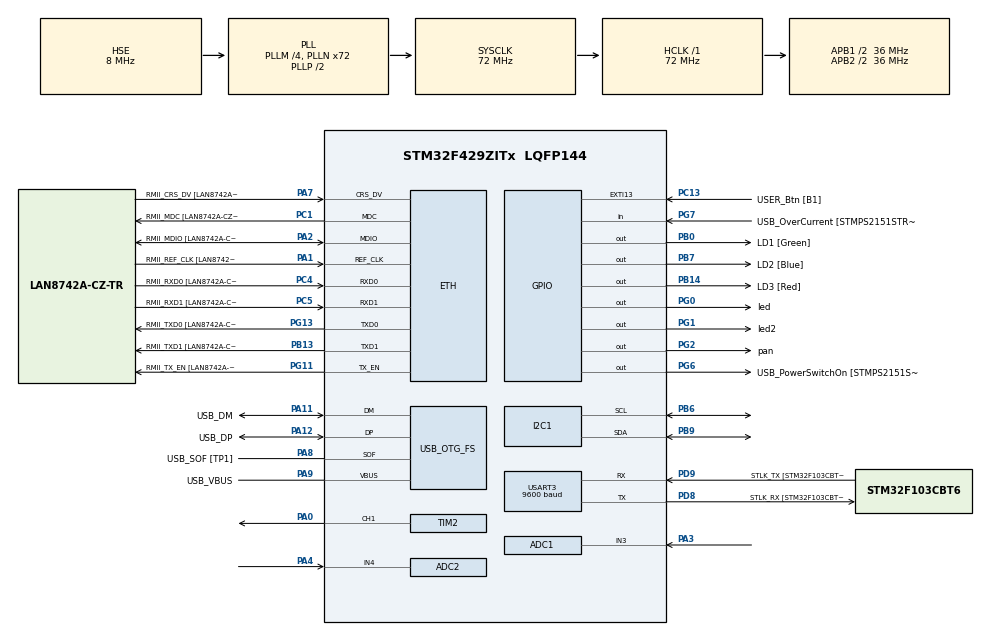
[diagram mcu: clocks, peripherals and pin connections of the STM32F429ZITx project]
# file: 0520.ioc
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ADC1.Channel-0\#ChannelRegularConversion=ADC_CHANNEL_3
ADC1.ClockPrescaler=ADC_CLOCK_SYNC_PCLK_DIV4
ADC1.ContinuousConvMode=ENABLE
ADC1.NbrOfConversionFlag=1
ADC1.Rank-0\#ChannelRegularConversion=1
ADC1.SamplingTime-0\#ChannelRegularConversion=ADC_SAMPLETIME_3CYCLES
ADC1.master=1
ADC2.Channel-0\#ChannelRegularConversion=ADC_CHANNEL_4
ADC2.ClockPrescaler=ADC_CLOCK_SYNC_PCLK_DIV4
ADC2.NbrOfConversionFlag=1
ADC2.Rank-0\#ChannelRegularConversion=1
ADC2.SamplingTime-0\#ChannelRegularConversion=ADC_SAMPLETIME_3CYCLES
ETH.MediaInterface=HAL_ETH_RMII_MODE
ETH.PHY_Name=LAN8742A_PHY_ADDRESS
ETH.PHY_Value=0
ETH.PhyAddress=0
Mcu.Family=STM32F4
Mcu.Name=STM32F429ZITx
Mcu.Package=LQFP144
NVIC.ADC_IRQn=true\:0\:0\:false\:false\:true\:true\:true\:true
NVIC.PriorityGroup=NVIC_PRIORITYGROUP_4
NVIC.USART3_IRQn=true\:0\:0\:false\:false\:true\:true\:true\:true
PA0/WKUP.Signal=S_TIM2_CH1_ETR
PA1.GPIO_Label=RMII_REF_CLK [LAN8742A-CZ-TR_REFCLK0]
PA1.Mode=RMII
PA1.Signal=ETH_REF_CLK
PA10.GPIO_Label=USB_ID
PA10.Signal=USB_OTG_FS_ID
PA11.GPIO_Label=USB_DM
PA11.Mode=Device_Only
PA11.Signal=USB_OTG_FS_DM
PA12.GPIO_Label=USB_DP
PA12.Mode=Device_Only
PA12.Signal=USB_OTG_FS_DP
PA13.GPIO_Label=TMS
PA13.Mode=Serial_Wire
PA13.Signal=SYS_JTMS-SWDIO
PA14.GPIO_Label=TCK
PA14.Mode=Serial_Wire
PA14.Signal=SYS_JTCK-SWCLK
PA2.GPIO_Label=RMII_MDIO [LAN8742A-CZ-TR_MDIO]
PA2.Mode=RMII
PA2.Signal=ETH_MDIO
PA3.Signal=ADCx_IN3
PA4.Signal=ADCx_IN4
PA7.GPIO_Label=RMII_CRS_DV [LAN8742A-CZ-TR_CRS_DV]
PA7.Mode=RMII
PA7.Signal=ETH_CRS_DV
PA8.GPIO_Label=USB_SOF [TP1]
PA8.Mode=Activate_SOF_FS
PA8.Signal=USB_OTG_FS_SOF
PA9.GPIO_Label=USB_VBUS
PA9.Mode=Activate_VBUS
PA9.Signal=USB_OTG_FS_VBUS
PB0.GPIO_Label=LD1 [Green]
PB0.Signal=GPIO_Output
PB13.GPIO_Label=RMII_TXD1 [LAN8742A-CZ-TR_TXD1]
PB13.Mode=RMII
PB13.Signal=ETH_TXD1
PB14.GPIO_Label=LD3 [Red]
PB14.Signal=GPIO_Output
PB6.Mode=I2C
PB6.Signal=I2C1_SCL
PB7.GPIO_Label=LD2 [Blue]
PB7.Signal=GPIO_Output
PB9.Mode=I2C
PB9.Signal=I2C1_SDA
PC1.GPIO_Label=RMII_MDC [LAN8742A-CZ-TR_MDC]
PC1.Mode=RMII
PC1.Signal=ETH_MDC
PC13.GPIO_Label=USER_Btn [B1]
PC13.Signal=GPXTI13
PC14/OSC32_IN.Mode=LSE-External-Oscillator
PC14/OSC32_IN.Signal=RCC_OSC32_IN
PC15/OSC32_OUT.Mode=LSE-External-Oscillator
PC15/OSC32_OUT.Signal=RCC_OSC32_OUT
PC4.GPIO_Label=RMII_RXD0 [LAN8742A-CZ-TR_RXD0]
PC4.Mode=RMII
PC4.Signal=ETH_RXD0
PC5.GPIO_Label=RMII_RXD1 [LAN8742A-CZ-TR_RXD1]
PC5.Mode=RMII
PC5.Signal=ETH_RXD1
PD8.GPIO_Label=STLK_RX [STM32F103CBT6_PA3]
PD8.Mode=Asynchronous
PD8.Signal=USART3_TX
PD9.GPIO_Label=STLK_TX [STM32F103CBT6_PA2]
PD9.Mode=Asynchronous
PD9.Signal=USART3_RX
PG0.GPIO_Label=led
PG0.Signal=GPIO_Output
PG1.GPIO_Label=led2
PG1.Signal=GPIO_Output
PG11.GPIO_Label=RMII_TX_EN [LAN8742A-CZ-TR_TXEN]
PG11.Mode=RMII
PG11.Signal=ETH_TX_EN
PG13.GPIO_Label=RMII_TXD0 [LAN8742A-CZ-TR_TXD0]
PG13.Mode=RMII
PG13.Signal=ETH_TXD0
PG2.GPIO_Label=pan
PG2.Signal=GPIO_Output
PG6.GPIO_Label=USB_PowerSwitchOn [STMPS2151STR_EN]
PG6.Signal=GPIO_Output
PG7.GPIO_Label=USB_OverCurrent [STMPS2151STR_FAULT]
PG7.Signal=GPIO_Input
PH0/OSC_IN.GPIO_Label=MCO [STM32F103CBT6_PA8]
PH0/OSC_IN.Mode=HSE-External-Clock-Source
PH0/OSC_IN.Signal=RCC_OSC_IN
PH1/OSC_OUT.Mode=HSE-External-Clock-Source
PH1/OSC_OUT.Signal=RCC_OSC_OUT
ProjectManager.HeapSize=0x200
ProjectManager.StackSize=0x400
ProjectManager.TargetToolchain=STM32CubeIDE
RCC.48MHZClocksFreq_Value=48000000
RCC.AHBFreq_Value=72000000
RCC.APB1CLKDivider=RCC_HCLK_DIV2
RCC.APB1Freq_Value=36000000
RCC.APB1TimFreq_Value=72000000
RCC.APB2CLKDivider=RCC_HCLK_DIV2
RCC.APB2Freq_Value=36000000
RCC.APB2TimFreq_Value=72000000
RCC.CortexFreq_Value=72000000
RCC.HCLKFreq_Value=72000000
RCC.HSE_VALUE=8000000
RCC.HSI_VALUE=16000000
RCC.PLLM=4
RCC.PLLMUL=RCC_PLL_MUL9
RCC.PLLN=72
RCC.PLLQ=3
RCC.PRESCALERUSB=RCC_USBCLKSOURCE_PLL_DIV1_5
RCC.SYSCLKFreq_VALUE=72000000
RCC.SYSCLKSource=RCC_SYSCLKSOURCE_PLLCLK
RCC.SYSCLKSourceVirtual=RCC_SYSCLKSOURCE_PLLCLK
RCC.USBFreq_Value=48000000
RCC.VCOOutputFreq_Value=144000000
SH.ADCx_IN3.0=ADC1_IN3,IN3
SH.ADCx_IN4.0=ADC2_IN4,IN4
SH.S_TIM2_CH1_ETR.0=TIM2_CH1,PWM Generation1 CH1
TIM2.Channel-PWM\ Generation1\ CH1=TIM_CHANNEL_1
TIM2.Period=2000-1
TIM2.Prescaler=640-1
TIM2.Pulse-PWM\ Generation1\ CH1=300-1
USART3.BaudRate=9600
USART3.VirtualMode=VM_ASYNC
USB_OTG_FS.VirtualMode=Device_Only
VP_TIM2_VS_ClockSourceINT.Mode=Internal
board=NUCLEO-F429ZI

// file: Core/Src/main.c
/* USER CODE BEGIN Header */
/**
 ******************************************************************************
 * @file           : main.c
 * @brief          : Main program body
 ******************************************************************************
 * @attention
 *
 * Copyright (c) 2022 STMicroelectronics.
 * All rights reserved.
 *
 * This software is licensed under terms that can be found in the LICENSE file
 * in the root directory of this software component.
 * If no LICENSE file comes with this software, it is provided AS-IS.
 *
 ******************************************************************************
 */
/* USER CODE END Header */
#include "main.h"
#include "string.h"

/* USER CODE BEGIN Includes */
#include <stdio.h>
#include "i2c-lcd.h"

/* USER CODE END Includes */

/* USER CODE BEGIN PTD */
#define PARA 116.6020682
#define PARB 2.769034857

#define RLOAD 0.95 //RLOAD 측정�??
#define RZERO 3.49
/* USER CODE END PTD */

/* USER CODE BEGIN PD */
#define RxBufferSize 20
/* USER CODE END PD */

ETH_TxPacketConfig TxConfig;
ETH_DMADescTypeDef DMARxDscrTab[ETH_RX_DESC_CNT]; /* Ethernet Rx DMA Descriptors */
ETH_DMADescTypeDef DMATxDscrTab[ETH_TX_DESC_CNT]; /* Ethernet Tx DMA Descriptors */

ADC_HandleTypeDef hadc1;
ADC_HandleTypeDef hadc2;

ETH_HandleTypeDef heth;

I2C_HandleTypeDef hi2c1;

TIM_HandleTypeDef htim2;

UART_HandleTypeDef huart3;

PCD_HandleTypeDef hpcd_USB_OTG_FS;

/* USER CODE BEGIN PV */
uint8_t RxBuffer[RxBufferSize];
uint16_t adc_value1, adc_value2;

float ppm;
int gas;

int val, flag;
int sensor_read = 0;
float getResistance;

char msg[15];

/* USER CODE END PV */

void SystemClock_Config(void);
static void MX_GPIO_Init(void);
static void MX_ETH_Init(void);
static void MX_USART3_UART_Init(void);
static void MX_USB_OTG_FS_PCD_Init(void);
static void MX_ADC1_Init(void);
static void MX_TIM2_Init(void);
static void MX_ADC2_Init(void);
static void MX_I2C1_Init(void);

/* USER CODE BEGIN 0 */

#ifdef __GNUC__										//printf ?��?��
/* With GCC, small printf (option LD Linker->Libraries->Small printf
 set to 'Yes') calls __io_putchar() */
#define PUTCHAR_PROTOTYPE int __io_putchar(int ch)
#else
#define PUTCHAR_PROTOTYPE int fputc(int ch, FILE *f)
#endif /* __GNUC__ */

PUTCHAR_PROTOTYPE {
	/* Place your implementation of fputc here */
	/* e.g. write a character to the USART1 and Loop until the end of transmission */
	HAL_UART_Transmit(&huart3, (uint8_t*) &ch, 1, 0xFFFF);

	return ch;
}

int map(int x, int in_min, int in_max, int out_min, int out_max) {
	return (x - in_min) * (out_max - out_min) / (in_max - in_min) + out_min;
}

void LCD() {
	//lcd ?��?��
	char co2_text[20], gas_text[20];
	lcd_put_cur(0, 0);
	sprintf(co2_text, "CO2 : %.2fppm ", ppm);
	lcd_send_string(co2_text);
	lcd_put_cur(1, 0);
	sprintf(gas_text, "Gas : %dppm", gas);
	lcd_send_string(gas_text);
}

/* USER CODE END 0 */

int main(void) {

	/* MCU Configuration--------------------------------------------------------*/

	/* Reset of all peripherals, Initializes the Flash interface and the Systick. */
	HAL_Init();

	/* Configure the system clock */
	SystemClock_Config();

	/* Initialize all configured peripherals */
	MX_GPIO_Init();
	MX_ETH_Init();
	MX_USART3_UART_Init();
	MX_USB_OTG_FS_PCD_Init();
	MX_ADC1_Init();
	MX_TIM2_Init();
	MX_ADC2_Init();
	MX_I2C1_Init();
	/* USER CODE BEGIN 2 */
	HAL_TIM_PWM_Start(&htim2, TIM_CHANNEL_1);
	HAL_ADC_Start_IT(&hadc1);
	HAL_ADC_Start_IT(&hadc2);

	lcd_init();

	/* USER CODE END 2 */

	/* Infinite loop */
	/* USER CODE BEGIN WHILE */
	while (1) {
		uint8_t RxTemp;
		int count = 0;

		LCD();
		//ADC
		HAL_ADC_Start(&hadc1);
		HAL_ADC_PollForConversion(&hadc1, 10);
		adc_value1 = (uint16_t) HAL_ADC_GetValue(&hadc1);
		HAL_ADC_Start(&hadc2);
		HAL_ADC_PollForConversion(&hadc2, 10);
		adc_value2 = (uint16_t) HAL_ADC_GetValue(&hadc2);

		getResistance = ((4096.0 / (float) adc_value1) - 1.0) * RLOAD;
		ppm = PARA * pow((getResistance / RZERO), -PARB);

		gas = map(adc_value2, 0, 4096, 0, 1000);

		if (ppm < 1400.0 && gas < 1000) {
			if (ppm > 700) {
				flag = 1;
				HAL_GPIO_WritePin(GPIOG, led_Pin, 1);
				TIM2->CCR1 = 150;
				//HAL_Delay(500);
			} else {
				flag = 0;
				HAL_GPIO_WritePin(GPIOG, led_Pin, 0);
				TIM2->CCR1 = 50;
				// HAL_Delay(500);
			}
			if (gas > 300) {
				flag = 1;
				HAL_GPIO_WritePin(GPIOG, led2_Pin, 1);
			} else {
				flag = 0;
				HAL_GPIO_WritePin(GPIOG, led2_Pin, 0);
			}
			sprintf(msg, "%.2lf:%dL", ppm, gas);
			printf(msg);
		}

		while (1) {
			if (HAL_UART_Receive(&huart3, &RxTemp, 1, 50) == HAL_OK) {
				RxBuffer[count++] = RxTemp;
				HAL_Delay(1);
				if (RxTemp == 'P')
					break;
			}
		}

		RxBuffer[count - 1] = '\0';
		count = 0;
		if (strcmp(RxBuffer, "ON") == 0) {
			HAL_GPIO_WritePin(GPIOG, pan_Pin, 1);
			for(int idx = 0; idx < RxBufferSize; idx++)
				RxBuffer[idx] = 0;
		}
		if (strcmp(RxBuffer, "OFF") == 0) {
			HAL_GPIO_WritePin(GPIOG, pan_Pin, 0);
			for(int idx = 0; idx < RxBufferSize; idx++)
				RxBuffer[idx] = 0;
		}

		HAL_Delay(1000);
		/* USER CODE END WHILE */

	}
}

void SystemClock_Config(void) {
	RCC_OscInitTypeDef RCC_OscInitStruct = { 0 };
	RCC_ClkInitTypeDef RCC_ClkInitStruct = { 0 };

	/** Configure the main internal regulator output voltage
	 */
	__HAL_RCC_PWR_CLK_ENABLE();
	__HAL_PWR_VOLTAGESCALING_CONFIG(PWR_REGULATOR_VOLTAGE_SCALE3);

	/** Initializes the RCC Oscillators according to the specified parameters
	 * in the RCC_OscInitTypeDef structure.
	 */
	RCC_OscInitStruct.OscillatorType = RCC_OSCILLATORTYPE_HSE;
	RCC_OscInitStruct.HSEState = RCC_HSE_BYPASS;
	RCC_OscInitStruct.PLL.PLLState = RCC_PLL_ON;
	RCC_OscInitStruct.PLL.PLLSource = RCC_PLLSOURCE_HSE;
	RCC_OscInitStruct.PLL.PLLM = 4;
	RCC_OscInitStruct.PLL.PLLN = 72;
	RCC_OscInitStruct.PLL.PLLP = RCC_PLLP_DIV2;
	RCC_OscInitStruct.PLL.PLLQ = 3;
	if (HAL_RCC_OscConfig(&RCC_OscInitStruct) != HAL_OK) {
		Error_Handler();
	}

	/** Initializes the CPU, AHB and APB buses clocks
	 */
	RCC_ClkInitStruct.ClockType = RCC_CLOCKTYPE_HCLK | RCC_CLOCKTYPE_SYSCLK
			| RCC_CLOCKTYPE_PCLK1 | RCC_CLOCKTYPE_PCLK2;
	RCC_ClkInitStruct.SYSCLKSource = RCC_SYSCLKSOURCE_PLLCLK;
	RCC_ClkInitStruct.AHBCLKDivider = RCC_SYSCLK_DIV1;
	RCC_ClkInitStruct.APB1CLKDivider = RCC_HCLK_DIV2;
	RCC_ClkInitStruct.APB2CLKDivider = RCC_HCLK_DIV2;

	if (HAL_RCC_ClockConfig(&RCC_ClkInitStruct, FLASH_LATENCY_2) != HAL_OK) {
		Error_Handler();
	}
}

static void MX_ADC1_Init(void) {

	ADC_ChannelConfTypeDef sConfig = { 0 };

	/** Configure the global features of the ADC (Clock, Resolution, Data Alignment and number of conversion)
	 */
	hadc1.Instance = ADC1;
	hadc1.Init.ClockPrescaler = ADC_CLOCK_SYNC_PCLK_DIV4;
	hadc1.Init.Resolution = ADC_RESOLUTION_12B;
	hadc1.Init.ScanConvMode = DISABLE;
	hadc1.Init.ContinuousConvMode = ENABLE;
	hadc1.Init.DiscontinuousConvMode = DISABLE;
	hadc1.Init.ExternalTrigConvEdge = ADC_EXTERNALTRIGCONVEDGE_NONE;
	hadc1.Init.ExternalTrigConv = ADC_SOFTWARE_START;
	hadc1.Init.DataAlign = ADC_DATAALIGN_RIGHT;
	hadc1.Init.NbrOfConversion = 1;
	hadc1.Init.DMAContinuousRequests = DISABLE;
	hadc1.Init.EOCSelection = ADC_EOC_SINGLE_CONV;
	if (HAL_ADC_Init(&hadc1) != HAL_OK) {
		Error_Handler();
	}

	/** Configure for the selected ADC regular channel its corresponding rank in the sequencer and its sample time.
	 */
	sConfig.Channel = ADC_CHANNEL_3;
	sConfig.Rank = 1;
	sConfig.SamplingTime = ADC_SAMPLETIME_3CYCLES;
	if (HAL_ADC_ConfigChannel(&hadc1, &sConfig) != HAL_OK) {
		Error_Handler();
	}

}

static void MX_ADC2_Init(void) {

	ADC_ChannelConfTypeDef sConfig = { 0 };

	/** Configure the global features of the ADC (Clock, Resolution, Data Alignment and number of conversion)
	 */
	hadc2.Instance = ADC2;
	hadc2.Init.ClockPrescaler = ADC_CLOCK_SYNC_PCLK_DIV4;
	hadc2.Init.Resolution = ADC_RESOLUTION_12B;
	hadc2.Init.ScanConvMode = DISABLE;
	hadc2.Init.ContinuousConvMode = DISABLE;
	hadc2.Init.DiscontinuousConvMode = DISABLE;
	hadc2.Init.ExternalTrigConvEdge = ADC_EXTERNALTRIGCONVEDGE_NONE;
	hadc2.Init.ExternalTrigConv = ADC_SOFTWARE_START;
	hadc2.Init.DataAlign = ADC_DATAALIGN_RIGHT;
	hadc2.Init.NbrOfConversion = 1;
	hadc2.Init.DMAContinuousRequests = DISABLE;
	hadc2.Init.EOCSelection = ADC_EOC_SINGLE_CONV;
	if (HAL_ADC_Init(&hadc2) != HAL_OK) {
		Error_Handler();
	}

	/** Configure for the selected ADC regular channel its corresponding rank in the sequencer and its sample time.
	 */
	sConfig.Channel = ADC_CHANNEL_4;
	sConfig.Rank = 1;
	sConfig.SamplingTime = ADC_SAMPLETIME_3CYCLES;
	if (HAL_ADC_ConfigChannel(&hadc2, &sConfig) != HAL_OK) {
		Error_Handler();
	}

}

static void MX_ETH_Init(void) {

	static uint8_t MACAddr[6];

	heth.Instance = ETH;
	MACAddr[0] = 0x00;
	MACAddr[1] = 0x80;
	MACAddr[2] = 0xE1;
	MACAddr[3] = 0x00;
	MACAddr[4] = 0x00;
	MACAddr[5] = 0x00;
	heth.Init.MACAddr = &MACAddr[0];
	heth.Init.MediaInterface = HAL_ETH_RMII_MODE;
	heth.Init.TxDesc = DMATxDscrTab;
	heth.Init.RxDesc = DMARxDscrTab;
	heth.Init.RxBuffLen = 1524;

	if (HAL_ETH_Init(&heth) != HAL_OK) {
		Error_Handler();
	}

	memset(&TxConfig, 0, sizeof(ETH_TxPacketConfig));
	TxConfig.Attributes = ETH_TX_PACKETS_FEATURES_CSUM
			| ETH_TX_PACKETS_FEATURES_CRCPAD;
	TxConfig.ChecksumCtrl = ETH_CHECKSUM_IPHDR_PAYLOAD_INSERT_PHDR_CALC;
	TxConfig.CRCPadCtrl = ETH_CRC_PAD_INSERT;

}

static void MX_I2C1_Init(void) {

	hi2c1.Instance = I2C1;
	hi2c1.Init.ClockSpeed = 100000;
	hi2c1.Init.DutyCycle = I2C_DUTYCYCLE_2;
	hi2c1.Init.OwnAddress1 = 0;
	hi2c1.Init.AddressingMode = I2C_ADDRESSINGMODE_7BIT;
	hi2c1.Init.DualAddressMode = I2C_DUALADDRESS_DISABLE;
	hi2c1.Init.OwnAddress2 = 0;
	hi2c1.Init.GeneralCallMode = I2C_GENERALCALL_DISABLE;
	hi2c1.Init.NoStretchMode = I2C_NOSTRETCH_DISABLE;
	if (HAL_I2C_Init(&hi2c1) != HAL_OK) {
		Error_Handler();
	}

	/** Configure Analogue filter
	 */
	if (HAL_I2CEx_ConfigAnalogFilter(&hi2c1, I2C_ANALOGFILTER_ENABLE)
			!= HAL_OK) {
		Error_Handler();
	}

	/** Configure Digital filter
	 */
	if (HAL_I2CEx_ConfigDigitalFilter(&hi2c1, 0) != HAL_OK) {
		Error_Handler();
	}

}

static void MX_TIM2_Init(void) {

	TIM_ClockConfigTypeDef sClockSourceConfig = { 0 };
	TIM_MasterConfigTypeDef sMasterConfig = { 0 };
	TIM_OC_InitTypeDef sConfigOC = { 0 };

	htim2.Instance = TIM2;
	htim2.Init.Prescaler = 640 - 1;
	htim2.Init.CounterMode = TIM_COUNTERMODE_UP;
	htim2.Init.Period = 2000 - 1;
	htim2.Init.ClockDivision = TIM_CLOCKDIVISION_DIV1;
	htim2.Init.AutoReloadPreload = TIM_AUTORELOAD_PRELOAD_DISABLE;
	if (HAL_TIM_Base_Init(&htim2) != HAL_OK) {
		Error_Handler();
	}
	sClockSourceConfig.ClockSource = TIM_CLOCKSOURCE_INTERNAL;
	if (HAL_TIM_ConfigClockSource(&htim2, &sClockSourceConfig) != HAL_OK) {
		Error_Handler();
	}
	if (HAL_TIM_PWM_Init(&htim2) != HAL_OK) {
		Error_Handler();
	}
	sMasterConfig.MasterOutputTrigger = TIM_TRGO_RESET;
	sMasterConfig.MasterSlaveMode = TIM_MASTERSLAVEMODE_DISABLE;
	if (HAL_TIMEx_MasterConfigSynchronization(&htim2, &sMasterConfig)
			!= HAL_OK) {
		Error_Handler();
	}
	sConfigOC.OCMode = TIM_OCMODE_PWM1;
	sConfigOC.Pulse = 300 - 1;
	sConfigOC.OCPolarity = TIM_OCPOLARITY_HIGH;
	sConfigOC.OCFastMode = TIM_OCFAST_DISABLE;
	if (HAL_TIM_PWM_ConfigChannel(&htim2, &sConfigOC, TIM_CHANNEL_1)
			!= HAL_OK) {
		Error_Handler();
	}
	HAL_TIM_MspPostInit(&htim2);

}

static void MX_USART3_UART_Init(void) {

	huart3.Instance = USART3;
	huart3.Init.BaudRate = 9600;
	huart3.Init.WordLength = UART_WORDLENGTH_8B;
	huart3.Init.StopBits = UART_STOPBITS_1;
	huart3.Init.Parity = UART_PARITY_NONE;
	huart3.Init.Mode = UART_MODE_TX_RX;
	huart3.Init.HwFlowCtl = UART_HWCONTROL_NONE;
	huart3.Init.OverSampling = UART_OVERSAMPLING_16;
	if (HAL_UART_Init(&huart3) != HAL_OK) {
		Error_Handler();
	}

}

static void MX_USB_OTG_FS_PCD_Init(void) {

	hpcd_USB_OTG_FS.Instance = USB_OTG_FS;
	hpcd_USB_OTG_FS.Init.dev_endpoints = 4;
	hpcd_USB_OTG_FS.Init.speed = PCD_SPEED_FULL;
	hpcd_USB_OTG_FS.Init.dma_enable = DISABLE;
	hpcd_USB_OTG_FS.Init.phy_itface = PCD_PHY_EMBEDDED;
	hpcd_USB_OTG_FS.Init.Sof_enable = ENABLE;
	hpcd_USB_OTG_FS.Init.low_power_enable = DISABLE;
	hpcd_USB_OTG_FS.Init.lpm_enable = DISABLE;
	hpcd_USB_OTG_FS.Init.vbus_sensing_enable = ENABLE;
	hpcd_USB_OTG_FS.Init.use_dedicated_ep1 = DISABLE;
	if (HAL_PCD_Init(&hpcd_USB_OTG_FS) != HAL_OK) {
		Error_Handler();
	}

}

static void MX_GPIO_Init(void) {
	GPIO_InitTypeDef GPIO_InitStruct = { 0 };

	/* GPIO Ports Clock Enable */
	__HAL_RCC_GPIOC_CLK_ENABLE();
	__HAL_RCC_GPIOH_CLK_ENABLE();
	__HAL_RCC_GPIOA_CLK_ENABLE();
	__HAL_RCC_GPIOB_CLK_ENABLE();
	__HAL_RCC_GPIOG_CLK_ENABLE();
	__HAL_RCC_GPIOD_CLK_ENABLE();

	/*Configure GPIO pin Output Level */
	HAL_GPIO_WritePin(GPIOB, LD1_Pin | LD3_Pin | LD2_Pin, GPIO_PIN_RESET);

	/*Configure GPIO pin Output Level */
	HAL_GPIO_WritePin(GPIOG,
	led_Pin | led2_Pin | pan_Pin | USB_PowerSwitchOn_Pin, GPIO_PIN_RESET);

	/*Configure GPIO pin : USER_Btn_Pin */
	GPIO_InitStruct.Pin = USER_Btn_Pin;
	GPIO_InitStruct.Mode = GPIO_MODE_IT_RISING;
	GPIO_InitStruct.Pull = GPIO_NOPULL;
	HAL_GPIO_Init(USER_Btn_GPIO_Port, &GPIO_InitStruct);

	/*Configure GPIO pins : LD1_Pin LD3_Pin LD2_Pin */
	GPIO_InitStruct.Pin = LD1_Pin | LD3_Pin | LD2_Pin;
	GPIO_InitStruct.Mode = GPIO_MODE_OUTPUT_PP;
	GPIO_InitStruct.Pull = GPIO_NOPULL;
	GPIO_InitStruct.Speed = GPIO_SPEED_FREQ_LOW;
	HAL_GPIO_Init(GPIOB, &GPIO_InitStruct);

	/*Configure GPIO pins : led_Pin led2_Pin pan_Pin USB_PowerSwitchOn_Pin */
	GPIO_InitStruct.Pin = led_Pin | led2_Pin | pan_Pin | USB_PowerSwitchOn_Pin;
	GPIO_InitStruct.Mode = GPIO_MODE_OUTPUT_PP;
	GPIO_InitStruct.Pull = GPIO_NOPULL;
	GPIO_InitStruct.Speed = GPIO_SPEED_FREQ_LOW;
	HAL_GPIO_Init(GPIOG, &GPIO_InitStruct);

	/*Configure GPIO pin : USB_OverCurrent_Pin */
	GPIO_InitStruct.Pin = USB_OverCurrent_Pin;
	GPIO_InitStruct.Mode = GPIO_MODE_INPUT;
	GPIO_InitStruct.Pull = GPIO_NOPULL;
	HAL_GPIO_Init(USB_OverCurrent_GPIO_Port, &GPIO_InitStruct);

}

/* USER CODE BEGIN 4 */
void HAL_ADC_ConvCpltCallback(ADC_HandleTypeDef *hadc);

/* USER CODE END 4 */

void Error_Handler(void) {
	__disable_irq();
	while (1) {
	}
}
